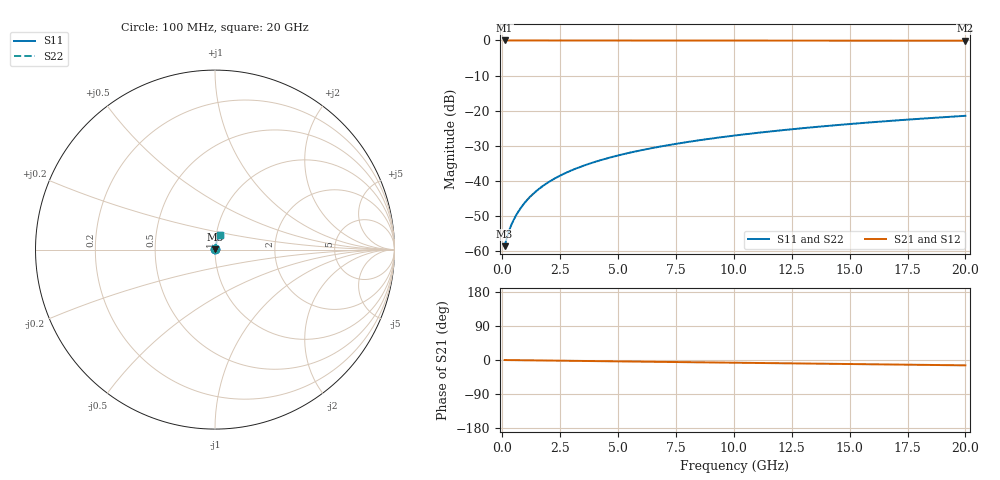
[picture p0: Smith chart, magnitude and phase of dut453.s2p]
! Touchstone file exported from HFSS 2026.1.0
!  File:  C:/ffzhzh/LocalFiles/Ansys_Project_Files/temp_train_BSMRDL_453_1783013333_46388.aedt
!  Generated:  01:30:21 AM Jul  3, 2026
!  Design:  BSMRDL
!  Project:  temp_train_BSMRDL_453_1783013333_46388
! Variables:
!  h_bsmrdl = 4.61um
!  h_ox = 20um
!  h_rdl = 5um
!  h_sub = 80um
!  h_tmrdl = 5um
!  h_tsv = 80um
!  h_via = 3um
!  l_bsmrdl = 220.05um
!  l_sub = 620.05um
!  l_tmrdl = 200um
!  m_sub = 200um
!  pitch = 31.18um
!  r_tsv = 6um
!  s_tmrdl = 10um
!  w_bsmrdl = 20.04um
!  w_sub = 500um
!  w_tmrdl = 12um
!  x_tsv_center1 = 206um
!  x_tsv_center2 = 446.09um
!  x_tsv_center3 = 658.09um
!  x_tsv_center4 = 898.18um
!  x_tsv_center5 = 1110.18um
!  x_tsv_center6 = 1350.27um
# GHz S MA R 50.000000
! Terminal data exported
! Port[1] = BSM_RDL1_1_T1
! Port[2] = BSM_RDL1_1_T2
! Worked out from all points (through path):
!   200 points, 100 MHz to 20 GHz, reference 50 ohm
!   highest |S21| = -0.01 dB at 100 MHz (marker M1); lowest = -0.1 dB at 20 GHz (marker M2)
!   group delay of S21, straight-line fit = 1.95 ps
!   lowest |S11| = -58.6 dB at 100 MHz (marker M3), VSWR 1.00, Z = 50.1 + j0.0585 ohm
!   |S11| at or under -10 dB: start of sweep to end of sweep
!   |S22| runs from -58.6 to -21.5 dB; largest |S21 - S12| = 1.2e-14
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0.1  0.001175 29.8  0.999 -0.1  0.999 -0.1  0.001175 29.8
! Gamma 0 0 0 0
! Port Impedance 50 0 50 0
0.2  0.001566 45.3  0.9989 -0.2  0.9989 -0.2  0.001566 45.3
0.3  0.001982 53.5  0.9988 -0.2  0.9988 -0.2  0.001982 53.5
0.4  0.002399 59.0  0.9988 -0.3  0.9988 -0.3  0.002399 59.0
0.5  0.00282 63.0  0.9987 -0.4  0.9987 -0.4  0.00282 63.0
0.6  0.003249 66.1  0.9987 -0.4  0.9987 -0.4  0.003249 66.1
0.8  0.004125 70.5  0.9987 -0.6  0.9987 -0.6  0.004125 70.5
1  0.005021 73.4  0.9986 -0.7  0.9986 -0.7  0.005021 73.4
1.2  0.005929 75.3  0.9986 -0.9  0.9986 -0.9  0.005929 75.3
1.4  0.006843 76.7  0.9985 -1.0  0.9985 -1.0  0.006843 76.7
1.7  0.00822 78.1  0.9984 -1.2  0.9984 -1.2  0.00822 78.1
2.2  0.01051 79.4  0.9983 -1.6  0.9983 -1.6  0.01051 79.4
2.8  0.01325 80.0  0.9981 -2.0  0.9981 -2.0  0.01325 80.0
3.5  0.0164 80.2  0.9978 -2.6  0.9978 -2.6  0.0164 80.2
4.2  0.01951 80.2  0.9975 -3.1  0.9975 -3.1  0.01951 80.2
5  0.02301 80.0  0.9972 -3.6  0.9972 -3.6  0.02301 80.0
6.8  0.03071 79.3  0.9964 -4.9  0.9964 -4.9  0.03071 79.3
8.3  0.03702 78.6  0.9958 -6.0  0.9958 -6.0  0.03702 78.6
10.1  0.04449 77.7  0.995 -7.2  0.995 -7.2  0.04449 77.7
13.4  0.058 75.9  0.9937 -9.5  0.9937 -9.5  0.058 75.9
16.7  0.07131 74.0  0.9923 -11.8  0.9923 -11.8  0.07131 74.0
20  0.08441 72.0  0.9907 -14.1  0.9907 -14.1  0.08441 72.0
